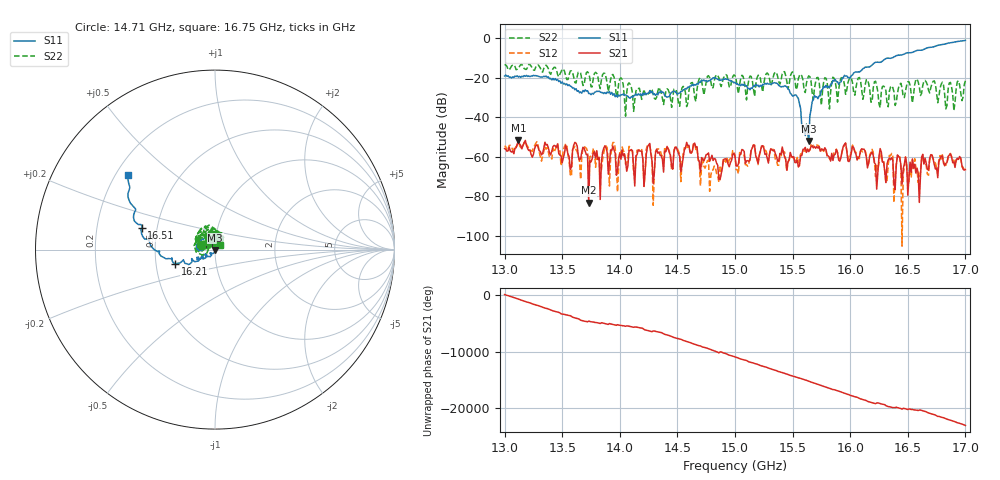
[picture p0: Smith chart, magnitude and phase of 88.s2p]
!Keysight Technologies,P9374A,MY57211807,A.19.30.04
!Date: Friday, May 01, 2026 14:29:22
!Correction: S11(C  2-Port  )
!S21(C  2-Port  )
!S12(C  2-Port  )
!S22(C  2-Port  )
!S2P File: Measurements: S11, S21, S12, S22:
# Hz S  RI  R 50
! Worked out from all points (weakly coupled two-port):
!   401 points, 13 GHz to 17 GHz, reference 50 ohm
!   highest |S21| = -51.60 dB at 13.12 GHz (marker M1); lowest = -83.2 dB at 13.73 GHz (marker M2)
!   lowest |S11| = -52.0 dB at 15.64 GHz (marker M3), VSWR 1.01, Z = 50.2 - j0.183 ohm
!   |S11| at or under -10 dB: start of sweep to 16.36 GHz
!   |S22| runs from -39.5 to -13.3 dB; largest |S21 - S12| = 0.001
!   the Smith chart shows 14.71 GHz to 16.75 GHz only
!   S11 on the Smith chart (normalised r, x): 14.71 GHz: 0.84, +0.03; 16.21 GHz: 0.63, -0.11; 16.51 GHz: 0.41, +0.12; 16.75 GHz: 0.25, +0.35
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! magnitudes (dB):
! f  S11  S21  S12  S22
! 13 GHz  -19.2  -55.9  -54.4  -13.4
! 13.12 GHz  -19.7  -51.6  -52.3  -15.3
! 13.67 GHz  -27.8  -57.6  -59.9  -20.7
! 13.73 GHz  -28.0  -83.2  -68.4  -17.9
! 13.87 GHz  -27.5  -54.5  -54.9  -17.8
! 14.2 GHz  -27.9  -61.3  -60.6  -28.3
! 14.25 GHz  -28.0  -54.1  -53.9  -27.9
! 14.29 GHz  -28.3  -73.5  -84.5  -28.5
! 14.34 GHz  -27.4  -57.6  -56.2  -24.9
! 14.65 GHz  -23.5  -53.1  -53.3  -30.1
! 14.71 GHz  -21.2  -60.4  -64.4  -21.8
! 15 GHz  -22.3  -59.7  -59.5  -19.0
! 15.45 GHz  -24.7  -66.8  -67.5  -22.0
! 15.55 GHz  -30.6  -65.2  -63.1  -20.5
! 15.6 GHz  -46.9  -56.2  -57.2  -26.3
! 15.64 GHz  -52.0  -57.4  -56.6  -19.1
! 15.67 GHz  -32.1  -54.5  -54.7  -27.7
! 16.21 GHz  -12.5  -63.0  -62.0  -22.1
! 16.34 GHz  -10.1  -60.6  -59.3  -27.0
! 16.51 GHz  -7.4  -70.8  -72.7  -22.0
! 16.75 GHz  -3.9  -65.6  -66.0  -27.8
! 17 GHz  -1.2  -66.5  -65.8  -21.6
